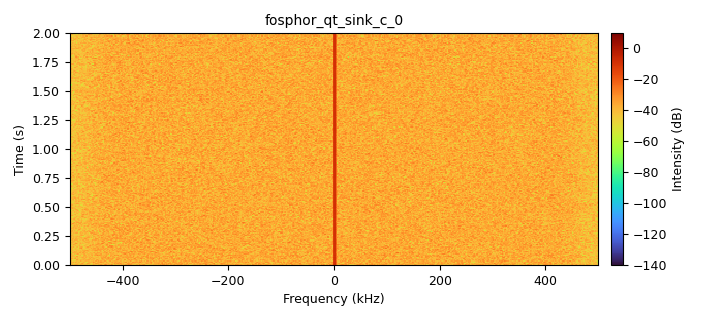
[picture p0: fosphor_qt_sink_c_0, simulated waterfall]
<?xml version='1.0' encoding='utf-8'?>
<?grc format='1' created='3.7.11'?>
<flow_graph>
<block>
<key>options</key>
<param><key>id</key><value>top_block</value></param>
<param><key>generate_options</key><value>qt_gui</value></param>
</block>
<block>
<key>variable_qtgui_range</key>
<param><key>id</key><value>freq_shift</value></param>
<param><key>value</key><value>0</value></param>
<param><key>label</key><value>freq_shift</value></param>
<param><key>orient</key><value>Qt.Horizontal</value></param>
<param><key>start</key><value>-samp_rate / 2</value></param>
<param><key>step</key><value>1000</value></param>
<param><key>stop</key><value>samp_rate / 2</value></param>
</block>
<block>
<key>variable_qtgui_range</key>
<param><key>id</key><value>resamp_rate</value></param>
<param><key>value</key><value>samp_rate</value></param>
<param><key>orient</key><value>Qt.Horizontal</value></param>
<param><key>start</key><value>0</value></param>
<param><key>step</key><value>1000</value></param>
<param><key>stop</key><value>samp_rate</value></param>
</block>
<block>
<key>variable</key>
<param><key>id</key><value>samp_rate</value></param>
<param><key>value</key><value>1e6</value></param>
</block>
<block>
<key>analog_noise_source_x</key>
<param><key>id</key><value>analog_noise_source_x_0</value></param>
<param><key>amp</key><value>1</value></param>
<param><key>noise_type</key><value>analog.GR_GAUSSIAN</value></param>
<param><key>type</key><value>complex</value></param>
<param><key>seed</key><value>0</value></param>
</block>
<block>
<key>analog_sig_source_x</key>
<param><key>id</key><value>analog_sig_source_x_0</value></param>
<param><key>amp</key><value>1</value></param>
<param><key>freq</key><value>0</value></param>
<param><key>offset</key><value>0</value></param>
<param><key>type</key><value>complex</value></param>
<param><key>samp_rate</key><value>samp_rate</value></param>
<param><key>waveform</key><value>analog.GR_COS_WAVE</value></param>
</block>
<block>
<key>blocks_add_xx</key>
<param><key>id</key><value>blocks_add_xx_0</value></param>
<param><key>type</key><value>complex</value></param>
</block>
<block>
<key>blocks_rotator_cc</key>
<param><key>id</key><value>blocks_rotator_cc_0</value></param>
<param><key>phase_inc</key><value>(2 * math.pi * freq_shift) / samp_rate</value></param>
</block>
<block>
<key>blocks_throttle</key>
<param><key>id</key><value>blocks_throttle_0</value></param>
<param><key>samples_per_second</key><value>samp_rate</value></param>
<param><key>type</key><value>complex</value></param>
</block>
<block>
<key>fosphor_qt_sink_c</key>
<param><key>id</key><value>fosphor_qt_sink_c_0</value></param>
<param><key>freq_center</key><value>0</value></param>
<param><key>freq_span</key><value>samp_rate</value></param>
</block>
<block>
<key>import</key>
<param><key>id</key><value>import</value></param>
<param><key>import</key><value>import math</value></param>
</block>
<block>
<key>pfb_arb_resampler_xxx</key>
<param><key>id</key><value>pfb_arb_resampler_xxx_0</value></param>
<param><key>nfilts</key><value>32</value></param>
<param><key>rrate</key><value>resamp_rate / samp_rate</value></param>
<param><key>atten</key><value>100</value></param>
<param><key>type</key><value>ccf</value></param>
</block>
<block>
<key>pfb_arb_resampler_xxx</key>
<param><key>id</key><value>pfb_arb_resampler_xxx_1</value></param>
<param><key>nfilts</key><value>32</value></param>
<param><key>rrate</key><value>samp_rate / resamp_rate</value></param>
<param><key>atten</key><value>100</value></param>
<param><key>type</key><value>ccf</value></param>
</block>
<connection><source_block_id>analog_noise_source_x_0</source_block_id><sink_block_id>blocks_throttle_0</sink_block_id><source_key>0</source_key><sink_key>0</sink_key></connection>
<connection><source_block_id>analog_sig_source_x_0</source_block_id><sink_block_id>blocks_add_xx_0</sink_block_id><source_key>0</source_key><sink_key>1</sink_key></connection>
<connection><source_block_id>blocks_add_xx_0</source_block_id><sink_block_id>blocks_rotator_cc_0</sink_block_id><source_key>0</source_key><sink_key>0</sink_key></connection>
<connection><source_block_id>blocks_rotator_cc_0</source_block_id><sink_block_id>pfb_arb_resampler_xxx_0</sink_block_id><source_key>0</source_key><sink_key>0</sink_key></connection>
<connection><source_block_id>blocks_throttle_0</source_block_id><sink_block_id>blocks_add_xx_0</sink_block_id><source_key>0</source_key><sink_key>0</sink_key></connection>
<connection><source_block_id>pfb_arb_resampler_xxx_0</source_block_id><sink_block_id>pfb_arb_resampler_xxx_1</sink_block_id><source_key>0</source_key><sink_key>0</sink_key></connection>
<connection><source_block_id>pfb_arb_resampler_xxx_1</source_block_id><sink_block_id>fosphor_qt_sink_c_0</sink_block_id><source_key>0</source_key><sink_key>0</sink_key></connection>
</flow_graph>
